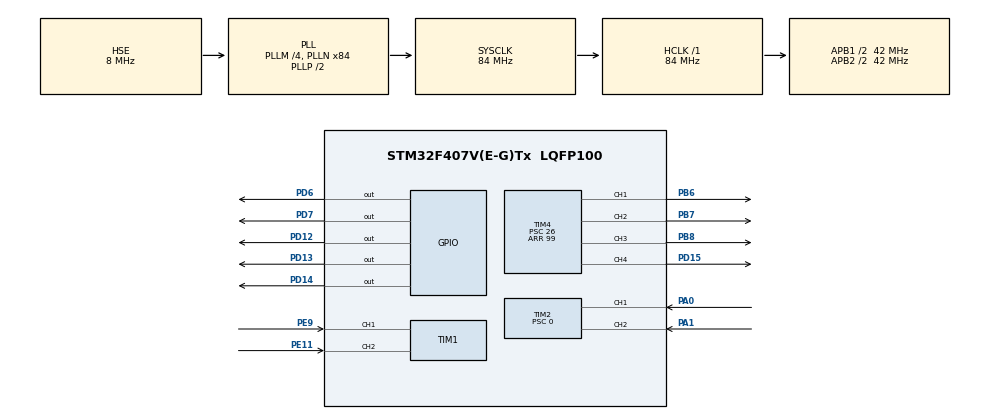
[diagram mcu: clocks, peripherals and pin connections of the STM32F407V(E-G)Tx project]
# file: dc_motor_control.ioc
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FREERTOS.Tasks01=defaultTask,24,128,StartDefaultTask,Default,NULL,Dynamic,NULL,NULL;myTask02,11,128,StartTask02,Default,NULL,Dynamic,NULL,NULL;myTask03,11,128,StartTask03,Default,NULL,Dynamic,NULL,NULL
Mcu.Family=STM32F4
Mcu.Name=STM32F407V(E-G)Tx
Mcu.Package=LQFP100
NVIC.PriorityGroup=NVIC_PRIORITYGROUP_4
PA0-WKUP.Signal=S_TIM2_CH1_ETR
PA1.Signal=S_TIM2_CH2
PA13.Mode=Serial_Wire
PA13.Signal=SYS_JTMS-SWDIO
PA14.Mode=Serial_Wire
PA14.Signal=SYS_JTCK-SWCLK
PB6.Signal=S_TIM4_CH1
PB7.Signal=S_TIM4_CH2
PB8.Signal=S_TIM4_CH3
PD12.Signal=GPIO_Output
PD13.Signal=GPIO_Output
PD14.Signal=GPIO_Output
PD15.Signal=S_TIM4_CH4
PD6.Signal=GPIO_Output
PD7.Signal=GPIO_Output
PE11.Signal=S_TIM1_CH2
PE9.Signal=S_TIM1_CH1
PH0-OSC_IN.Mode=HSE-External-Oscillator
PH0-OSC_IN.Signal=RCC_OSC_IN
PH1-OSC_OUT.Mode=HSE-External-Oscillator
PH1-OSC_OUT.Signal=RCC_OSC_OUT
ProjectManager.HeapSize=0x200
ProjectManager.StackSize=0x400
ProjectManager.TargetToolchain=STM32CubeIDE
RCC.48MHZClocksFreq_Value=24000000
RCC.AHBFreq_Value=84000000
RCC.APB1CLKDivider=RCC_HCLK_DIV2
RCC.APB1Freq_Value=42000000
RCC.APB1TimFreq_Value=84000000
RCC.APB2CLKDivider=RCC_HCLK_DIV2
RCC.APB2Freq_Value=42000000
RCC.APB2TimFreq_Value=84000000
RCC.CortexFreq_Value=84000000
RCC.HCLKFreq_Value=84000000
RCC.HSE_VALUE=8000000
RCC.HSI_VALUE=16000000
RCC.LSE_VALUE=32768
RCC.PLLM=4
RCC.PLLN=84
RCC.PLLQ=7
RCC.PLLSourceVirtual=RCC_PLLSOURCE_HSE
RCC.SYSCLKFreq_VALUE=84000000
RCC.SYSCLKSource=RCC_SYSCLKSOURCE_PLLCLK
RCC.VCOOutputFreq_Value=168000000
SH.S_TIM1_CH1.0=TIM1_CH1,Encoder_Interface
SH.S_TIM1_CH2.0=TIM1_CH2,Encoder_Interface
SH.S_TIM2_CH1_ETR.0=TIM2_CH1,Encoder_Interface
SH.S_TIM2_CH2.0=TIM2_CH2,Encoder_Interface
SH.S_TIM4_CH1.0=TIM4_CH1,PWM Generation1 CH1
SH.S_TIM4_CH2.0=TIM4_CH2,PWM Generation2 CH2
SH.S_TIM4_CH3.0=TIM4_CH3,PWM Generation3 CH3
SH.S_TIM4_CH4.0=TIM4_CH4,PWM Generation4 CH4
TIM1.EncoderMode=TIM_ENCODERMODE_TI12
TIM2.EncoderMode=TIM_ENCODERMODE_TI12
TIM2.Period=65535
TIM2.Prescaler=0
TIM4.Channel-PWM\ Generation1\ CH1=TIM_CHANNEL_1
TIM4.Channel-PWM\ Generation2\ CH2=TIM_CHANNEL_2
TIM4.Channel-PWM\ Generation3\ CH3=TIM_CHANNEL_3
TIM4.Channel-PWM\ Generation4\ CH4=TIM_CHANNEL_4
TIM4.Period=99
TIM4.Prescaler=26
VP_FREERTOS_VS_CMSIS_V2.Mode=CMSIS_V2
board=STM32F407G-DISC1

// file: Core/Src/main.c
/* USER CODE BEGIN Header */
/**
  ******************************************************************************
  * @file           : main.c
  * @brief          : Main program body
  ******************************************************************************
  * @attention
  *
  * Copyright (c) 2022 STMicroelectronics.
  * All rights reserved.
  *
  * This software is licensed under terms that can be found in the LICENSE file
  * in the root directory of this software component.
  * If no LICENSE file comes with this software, it is provided AS-IS.
  *
  ******************************************************************************
  */
/* USER CODE END Header */
#include "main.h"
#include "cmsis_os.h"

/* USER CODE BEGIN PTD */
int encvalue1,encvalue2;
double input, output, setpoint;
double input2, output2, setpoint2;
double iTerm = 0, lastInput = 0, dInput = 0, error = 0;
double iTerm2 = 0, lastInput2 = 0, dInput2 = 0, error2 = 0;
double outMin = 0, outMax = 100;
double kp1 = 2.0, ki1 = 0.001, kd1 = 0.001;      // CGO TETA 2
double kp2 = 29, ki2 = 0.001, kd2 = 13;      // CGO TETA 2
int arc1,arc2;
int art1,art2;
int angle,angle2;
float s=1.9;
float s2=2.1;
//int outMin = -100, outMax =100;
double sampleTime = 10;
int a;
/* USER CODE END PTD */

TIM_HandleTypeDef htim1;
TIM_HandleTypeDef htim2;
TIM_HandleTypeDef htim4;

/* Definitions for defaultTask */
osThreadId_t defaultTaskHandle;
const osThreadAttr_t defaultTask_attributes = {
  .name = "defaultTask",
  .stack_size = 128 * 4,
  .priority = (osPriority_t) osPriorityNormal,
};
/* Definitions for myTask02 */
osThreadId_t myTask02Handle;
const osThreadAttr_t myTask02_attributes = {
  .name = "myTask02",
  .stack_size = 128 * 4,
  .priority = (osPriority_t) osPriorityLow3,
};
/* Definitions for myTask03 */
osThreadId_t myTask03Handle;
const osThreadAttr_t myTask03_attributes = {
  .name = "myTask03",
  .stack_size = 128 * 4,
  .priority = (osPriority_t) osPriorityLow3,
};

void SystemClock_Config(void);
static void MX_GPIO_Init(void);
static void MX_TIM2_Init(void);
static void MX_TIM4_Init(void);
static void MX_TIM1_Init(void);
void StartDefaultTask(void *argument);
void StartTask02(void *argument);
void StartTask03(void *argument);

/* USER CODE BEGIN 0 */

uint32_t MAP(uint32_t au32_IN, uint32_t au32_INmin, uint32_t au32_INmax, uint32_t au32_OUTmin, uint32_t au32_OUTmax)
{
    return ((((au32_IN - au32_INmin)*(au32_OUTmax - au32_OUTmin))/(au32_INmax - au32_INmin)) + au32_OUTmin);
}

void pwmOut(int out) {                                // to H-Bridge board

  if (out > 0) {
	  __HAL_TIM_SET_COMPARE(&htim4,TIM_CHANNEL_1,out);
	  	  	 __HAL_TIM_SET_COMPARE(&htim4,TIM_CHANNEL_2,0);
  }
  else {

	  __HAL_TIM_SET_COMPARE(&htim4,TIM_CHANNEL_1,0);
	  	  	 __HAL_TIM_SET_COMPARE(&htim4,TIM_CHANNEL_2,abs(out));

	//  __HAL_TIM_SET_COMPARE(&htim1,TIM_CHANNEL_1,0);
		//  __HAL_TIM_SET_COMPARE(&htim1,TIM_CHANNEL_2,abs(out));
    //analogWrite(M1, 0);
    //analogWrite(M2, abs(out));                        // drive motor CCW
  }
}

void pwmOut2(int out) {                                // to H-Bridge board

  if (out > 0) {
	  __HAL_TIM_SET_COMPARE(&htim4,TIM_CHANNEL_3,out);
	  	  	 __HAL_TIM_SET_COMPARE(&htim4,TIM_CHANNEL_4,0);
  }
  else {

	  __HAL_TIM_SET_COMPARE(&htim4,TIM_CHANNEL_3,0);
	  	  	 __HAL_TIM_SET_COMPARE(&htim4,TIM_CHANNEL_4,abs(out));

  }
}

/* USER CODE END 0 */

int main(void)
{

  /* MCU Configuration--------------------------------------------------------*/

  /* Reset of all peripherals, Initializes the Flash interface and the Systick. */
  HAL_Init();

  /* Configure the system clock */
  SystemClock_Config();

  /* Initialize all configured peripherals */
  MX_GPIO_Init();
  MX_TIM2_Init();
  MX_TIM4_Init();
  MX_TIM1_Init();
  /* USER CODE BEGIN 2 */
  HAL_TIM_PWM_Start(&htim4, TIM_CHANNEL_1);
  HAL_TIM_PWM_Start(&htim4, TIM_CHANNEL_2);
  HAL_TIM_PWM_Start(&htim4, TIM_CHANNEL_3);
  HAL_TIM_PWM_Start(&htim4, TIM_CHANNEL_4);

  HAL_TIM_Encoder_Start(&htim1, TIM_CHANNEL_ALL);
  HAL_TIM_Encoder_Start(&htim2, TIM_CHANNEL_ALL);
 // HAL_TIM_Encoder_Start(&htim3, TIM_CHANNEL_ALL);
  /* USER CODE END 2 */

  /* Init scheduler */
  osKernelInitialize();

  /* Create the thread(s) */
  /* creation of defaultTask */
  defaultTaskHandle = osThreadNew(StartDefaultTask, NULL, &defaultTask_attributes);

  /* creation of myTask02 */
  myTask02Handle = osThreadNew(StartTask02, NULL, &myTask02_attributes);

  /* creation of myTask03 */
  myTask03Handle = osThreadNew(StartTask03, NULL, &myTask03_attributes);

  /* Start scheduler */
  osKernelStart();

  /* We should never get here as control is now taken by the scheduler */
  /* Infinite loop */
  while (1)
  {

    /* USER CODE BEGIN 3 */

	// encvalue2 =  __HAL_TIM_GET_COUNTER(&htim3);

	 HAL_GPIO_WritePin(GPIOD, GPIO_PIN_14, GPIO_PIN_SET);

  }
  /* USER CODE END 3 */
}

void SystemClock_Config(void)
{
  RCC_OscInitTypeDef RCC_OscInitStruct = {0};
  RCC_ClkInitTypeDef RCC_ClkInitStruct = {0};

  /** Configure the main internal regulator output voltage
  */
  __HAL_RCC_PWR_CLK_ENABLE();
  __HAL_PWR_VOLTAGESCALING_CONFIG(PWR_REGULATOR_VOLTAGE_SCALE1);

  /** Initializes the RCC Oscillators according to the specified parameters
  * in the RCC_OscInitTypeDef structure.
  */
  RCC_OscInitStruct.OscillatorType = RCC_OSCILLATORTYPE_HSE;
  RCC_OscInitStruct.HSEState = RCC_HSE_ON;
  RCC_OscInitStruct.PLL.PLLState = RCC_PLL_ON;
  RCC_OscInitStruct.PLL.PLLSource = RCC_PLLSOURCE_HSE;
  RCC_OscInitStruct.PLL.PLLM = 4;
  RCC_OscInitStruct.PLL.PLLN = 84;
  RCC_OscInitStruct.PLL.PLLP = RCC_PLLP_DIV2;
  RCC_OscInitStruct.PLL.PLLQ = 7;
  if (HAL_RCC_OscConfig(&RCC_OscInitStruct) != HAL_OK)
  {
    Error_Handler();
  }

  /** Initializes the CPU, AHB and APB buses clocks
  */
  RCC_ClkInitStruct.ClockType = RCC_CLOCKTYPE_HCLK|RCC_CLOCKTYPE_SYSCLK
                              |RCC_CLOCKTYPE_PCLK1|RCC_CLOCKTYPE_PCLK2;
  RCC_ClkInitStruct.SYSCLKSource = RCC_SYSCLKSOURCE_PLLCLK;
  RCC_ClkInitStruct.AHBCLKDivider = RCC_SYSCLK_DIV1;
  RCC_ClkInitStruct.APB1CLKDivider = RCC_HCLK_DIV2;
  RCC_ClkInitStruct.APB2CLKDivider = RCC_HCLK_DIV2;

  if (HAL_RCC_ClockConfig(&RCC_ClkInitStruct, FLASH_LATENCY_2) != HAL_OK)
  {
    Error_Handler();
  }
}

static void MX_TIM1_Init(void)
{

  TIM_Encoder_InitTypeDef sConfig = {0};
  TIM_MasterConfigTypeDef sMasterConfig = {0};

  htim1.Instance = TIM1;
  htim1.Init.Prescaler = 0;
  htim1.Init.CounterMode = TIM_COUNTERMODE_UP;
  htim1.Init.Period = 65535;
  htim1.Init.ClockDivision = TIM_CLOCKDIVISION_DIV1;
  htim1.Init.RepetitionCounter = 0;
  htim1.Init.AutoReloadPreload = TIM_AUTORELOAD_PRELOAD_DISABLE;
  sConfig.EncoderMode = TIM_ENCODERMODE_TI12;
  sConfig.IC1Polarity = TIM_ICPOLARITY_RISING;
  sConfig.IC1Selection = TIM_ICSELECTION_DIRECTTI;
  sConfig.IC1Prescaler = TIM_ICPSC_DIV1;
  sConfig.IC1Filter = 0;
  sConfig.IC2Polarity = TIM_ICPOLARITY_RISING;
  sConfig.IC2Selection = TIM_ICSELECTION_DIRECTTI;
  sConfig.IC2Prescaler = TIM_ICPSC_DIV1;
  sConfig.IC2Filter = 0;
  if (HAL_TIM_Encoder_Init(&htim1, &sConfig) != HAL_OK)
  {
    Error_Handler();
  }
  sMasterConfig.MasterOutputTrigger = TIM_TRGO_RESET;
  sMasterConfig.MasterSlaveMode = TIM_MASTERSLAVEMODE_DISABLE;
  if (HAL_TIMEx_MasterConfigSynchronization(&htim1, &sMasterConfig) != HAL_OK)
  {
    Error_Handler();
  }

}

static void MX_TIM2_Init(void)
{

  TIM_Encoder_InitTypeDef sConfig = {0};
  TIM_MasterConfigTypeDef sMasterConfig = {0};

  htim2.Instance = TIM2;
  htim2.Init.Prescaler = 0;
  htim2.Init.CounterMode = TIM_COUNTERMODE_UP;
  htim2.Init.Period = 65535;
  htim2.Init.ClockDivision = TIM_CLOCKDIVISION_DIV1;
  htim2.Init.AutoReloadPreload = TIM_AUTORELOAD_PRELOAD_DISABLE;
  sConfig.EncoderMode = TIM_ENCODERMODE_TI12;
  sConfig.IC1Polarity = TIM_ICPOLARITY_RISING;
  sConfig.IC1Selection = TIM_ICSELECTION_DIRECTTI;
  sConfig.IC1Prescaler = TIM_ICPSC_DIV1;
  sConfig.IC1Filter = 0;
  sConfig.IC2Polarity = TIM_ICPOLARITY_RISING;
  sConfig.IC2Selection = TIM_ICSELECTION_DIRECTTI;
  sConfig.IC2Prescaler = TIM_ICPSC_DIV1;
  sConfig.IC2Filter = 0;
  if (HAL_TIM_Encoder_Init(&htim2, &sConfig) != HAL_OK)
  {
    Error_Handler();
  }
  sMasterConfig.MasterOutputTrigger = TIM_TRGO_RESET;
  sMasterConfig.MasterSlaveMode = TIM_MASTERSLAVEMODE_DISABLE;
  if (HAL_TIMEx_MasterConfigSynchronization(&htim2, &sMasterConfig) != HAL_OK)
  {
    Error_Handler();
  }

}

static void MX_TIM4_Init(void)
{

  TIM_MasterConfigTypeDef sMasterConfig = {0};
  TIM_OC_InitTypeDef sConfigOC = {0};

  htim4.Instance = TIM4;
  htim4.Init.Prescaler = 26;
  htim4.Init.CounterMode = TIM_COUNTERMODE_UP;
  htim4.Init.Period = 99;
  htim4.Init.ClockDivision = TIM_CLOCKDIVISION_DIV1;
  htim4.Init.AutoReloadPreload = TIM_AUTORELOAD_PRELOAD_DISABLE;
  if (HAL_TIM_PWM_Init(&htim4) != HAL_OK)
  {
    Error_Handler();
  }
  sMasterConfig.MasterOutputTrigger = TIM_TRGO_RESET;
  sMasterConfig.MasterSlaveMode = TIM_MASTERSLAVEMODE_DISABLE;
  if (HAL_TIMEx_MasterConfigSynchronization(&htim4, &sMasterConfig) != HAL_OK)
  {
    Error_Handler();
  }
  sConfigOC.OCMode = TIM_OCMODE_PWM1;
  sConfigOC.Pulse = 0;
  sConfigOC.OCPolarity = TIM_OCPOLARITY_HIGH;
  sConfigOC.OCFastMode = TIM_OCFAST_DISABLE;
  if (HAL_TIM_PWM_ConfigChannel(&htim4, &sConfigOC, TIM_CHANNEL_1) != HAL_OK)
  {
    Error_Handler();
  }
  if (HAL_TIM_PWM_ConfigChannel(&htim4, &sConfigOC, TIM_CHANNEL_2) != HAL_OK)
  {
    Error_Handler();
  }
  if (HAL_TIM_PWM_ConfigChannel(&htim4, &sConfigOC, TIM_CHANNEL_3) != HAL_OK)
  {
    Error_Handler();
  }
  if (HAL_TIM_PWM_ConfigChannel(&htim4, &sConfigOC, TIM_CHANNEL_4) != HAL_OK)
  {
    Error_Handler();
  }
  HAL_TIM_MspPostInit(&htim4);

}

static void MX_GPIO_Init(void)
{
  GPIO_InitTypeDef GPIO_InitStruct = {0};

  /* GPIO Ports Clock Enable */
  __HAL_RCC_GPIOH_CLK_ENABLE();
  __HAL_RCC_GPIOA_CLK_ENABLE();
  __HAL_RCC_GPIOE_CLK_ENABLE();
  __HAL_RCC_GPIOD_CLK_ENABLE();
  __HAL_RCC_GPIOB_CLK_ENABLE();

  /*Configure GPIO pin Output Level */
  HAL_GPIO_WritePin(GPIOD, GPIO_PIN_12|GPIO_PIN_13|GPIO_PIN_14|GPIO_PIN_6
                          |GPIO_PIN_7, GPIO_PIN_RESET);

  /*Configure GPIO pins : PD12 PD13 PD14 PD6
                           PD7 */
  GPIO_InitStruct.Pin = GPIO_PIN_12|GPIO_PIN_13|GPIO_PIN_14|GPIO_PIN_6
                          |GPIO_PIN_7;
  GPIO_InitStruct.Mode = GPIO_MODE_OUTPUT_PP;
  GPIO_InitStruct.Pull = GPIO_NOPULL;
  GPIO_InitStruct.Speed = GPIO_SPEED_FREQ_LOW;
  HAL_GPIO_Init(GPIOD, &GPIO_InitStruct);

}

void StartDefaultTask(void *argument)
{
  for(;;)
  {
    osDelay(1);
  }
}

void StartTask02(void *argument)
{
  /* USER CODE BEGIN StartTask02 */
  /* Infinite loop */
  for(;;)
  {

	  encvalue1 =  __HAL_TIM_GET_COUNTER(&htim2);

	   int value = MAP(90,0,360,2,30000);
	  setpoint = value;           // set position
	  input =   encvalue1 ;                                 // data from encoder
	  error = setpoint - input;
	  iTerm += ki1 * error * sampleTime;
	  if (iTerm > outMax) iTerm = outMax;                 // prevent iTerm windup
	  else if (iTerm < outMin) iTerm = outMin;
	  dInput = (input - lastInput) / sampleTime;
	  output = kp1 * error + iTerm - kd1 * dInput;          // compute PID Output
	  if (output > outMax) output = outMax;               // limit output
	  else if (output < outMin) output = outMin;
	  lastInput = input;
	  pwmOut(output);
	  encvalue1 =  __HAL_TIM_GET_COUNTER(&htim2);
      angle=  MAP(encvalue1,0,65535,0,360);

      angle = angle*s;
	HAL_GPIO_WritePin(GPIOD, GPIO_PIN_12, GPIO_PIN_SET);

    osDelay(10);
  }
  /* USER CODE END StartTask02 */
}

void StartTask03(void *argument)
{
  /* USER CODE BEGIN StartTask03 */
  /* Infinite loop */
  for(;;)
  {
	  encvalue2 =  __HAL_TIM_GET_COUNTER(&htim1);

        int value = MAP(180,0,360,2,30000);

	  	  setpoint2= (value);                     // set position
	  	  input2 =   encvalue2 ;                                 // data from encoder
	  	  error2 = setpoint2 - input2;
	  	  iTerm2 += ki2 * error2 * sampleTime;
	  	  if (iTerm2 > outMax) iTerm2 = outMax;                 // prevent iTerm windup
	  	  else if (iTerm2 < outMin) iTerm2 = outMin;
	  	  dInput2 = (input2 - lastInput2) / sampleTime;
	  	  output2 = kp2 * error2 + iTerm2 - kd2 * dInput2;          // compute PID Output
	  	  if (output2 > outMax) output2 = outMax;               // limit output
	  	  else if (output2 < outMin) output2 = outMin;
	  	  lastInput2 = input2;
	  pwmOut2(output2);

	        angle2=  MAP(encvalue2,0,65535,0,360);

               angle2= angle2*s2;
    osDelay(10);

  }
  /* USER CODE END StartTask03 */
}

void Error_Handler(void)
{
  __disable_irq();
  while (1)
  {
  }
}
